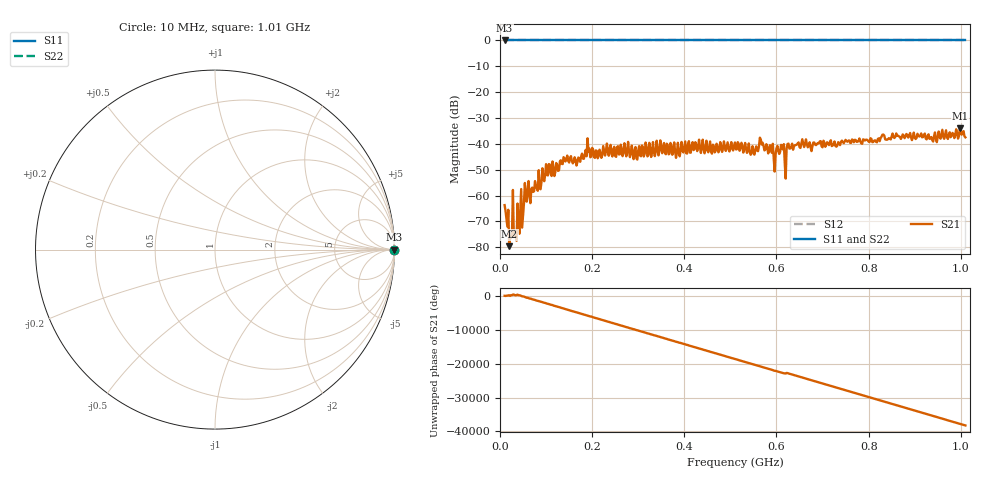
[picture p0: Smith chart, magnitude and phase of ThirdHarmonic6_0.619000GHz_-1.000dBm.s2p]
! 8/15/2025 8:21:12 PM
! C:\ANRITSUVNA\TEMP\TEMP.S2P
! CHANNEL.1
! TR.MEASUREMENT
! RAW.DATA
! RF.CORRECTION.OFF
! AVERAGING.OFF
! IF.BANDWIDTH: 5KHZ
! SWEEPTYPE:  FREQ.SWEEP(Linear)
! Reference Plane Port Info
! PORT:  PORT1  PORT2
! DISTANCE:  0  m  0  m
! TIME:  0  s  0  s
! PHASE.OFFSET:  0  deg.  0  deg.
! LOSS:  0  dB  0  dB
! REF.LOSS:  0  dB  0  dB
! REF.FREQ:  0  Hz  0  Hz
! Power Info
! POWER:  -20  dBm  -20  dBm
! EFF.POWER:  -20  dBm  -20  dBm
! SOURCE.ATTEN:  0  dB  0  dB
! TEST.ATTEN:  0  dB  0  dB
# GHZ S RI R 50.0
! FREQ.GHZ  S11RE  S11IM  S21RE  S21IM  S12RE  S12IM  S22RE  S22IM
!; PortSelection: Port_12
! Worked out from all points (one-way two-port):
!   501 points, 10 MHz to 1.01 GHz, reference 50 ohm
!   highest |S21| = -33.98 dB at 998 MHz (marker M1); lowest = -79.5 dB at 20 MHz (marker M2)
!   lowest |S11| = 0.0 dB at 10 MHz (marker M3)
!   |S11| at or under -10 dB: nowhere
!   |S22| runs from 0.0 to 0.0 dB; largest |S21 - S12| = 1
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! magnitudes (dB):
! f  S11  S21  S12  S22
! 10 MHz  0.0  -63.7  0.0  0.0
! 20 MHz  0.0  -79.5  0.0  0.0
! 38 MHz  0.0  -63.1  0.0  0.0
! 42 MHz  0.0  -74.8  0.0  0.0
! 46 MHz  0.0  -57.5  0.0  0.0
! 58 MHz  0.0  -62.3  0.0  0.0
! 68 MHz  0.0  -57.4  0.0  0.0
! 104 MHz  0.0  -52.2  0.0  0.0
! 178 MHz  0.0  -43.8  0.0  0.0
! 190 MHz  0.0  -37.8  0.0  0.0
! 344 MHz  0.0  -44.4  0.0  0.0
! 510 MHz  0.0  -39.5  0.0  0.0
! 548 MHz  0.0  -40.9  0.0  0.0
! 568 MHz  0.0  -40.3  0.0  0.0
! 594 MHz  0.0  -45.6  0.0  0.0
! 612 MHz  0.0  -40.8  0.0  0.0
! 618 MHz  0.0  -47.4  0.0  0.0
! 626 MHz  0.0  -39.9  0.0  0.0
! 678 MHz  0.0  -40.9  0.0  0.0
! 844 MHz  0.0  -37.8  0.0  0.0
! 998 MHz  0.0  -34.0  0.0  0.0
! 1.01 GHz  0.0  -37.5  0.0  0.0
